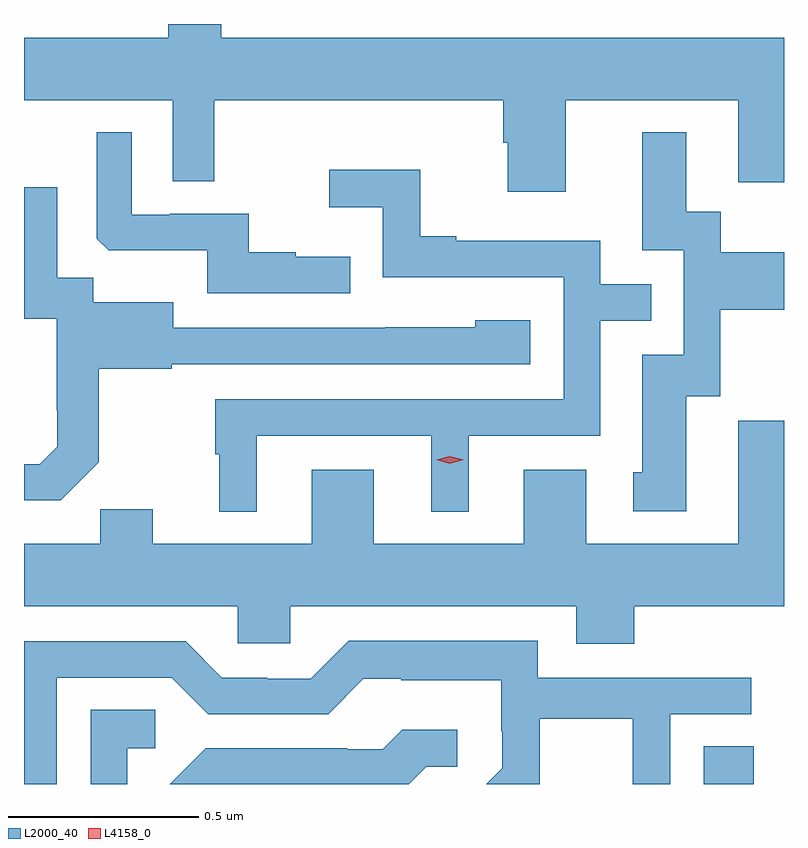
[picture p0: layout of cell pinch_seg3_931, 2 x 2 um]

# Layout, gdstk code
import gdstk
lib = gdstk.Library(unit=1e-6, precision=1e-09)
def R(c, l, rs):  # rectangles x0, y0, x1, y1
    for r in rs: c.add(gdstk.rectangle(r[:2], r[2:], *l))
def P(c, l, *ps):  # polygons
    for p in ps: c.add(gdstk.Polygon(p, *l))
L2000_40 = (2000, 40)
L4158_0 = (4158, 0)

pinch_seg3_931 = lib.new_cell('pinch_seg3_931')
R(pinch_seg3_931, L2000_40, [(822.695,671.144,822.826,671.243)])
P(pinch_seg3_931, L2000_40, [(822.331,672.944),(822.785,672.944),(822.785,672.728),(822.906,672.728),(822.906,673.108),(821.425,673.108),(821.425,673.144),(821.285,673.144),(821.285,673.108),(820.906,673.108),(820.906,672.944),(821.298,672.944),(821.298,672.73),(821.407,672.73),(821.407,672.944),(822.167,672.944),(822.167,672.831),(822.179,672.831),(822.179,672.702),(822.331,672.702)],
  [(822.649,672.165),(822.738,672.165),(822.738,672.392),(822.906,672.392),(822.906,672.544),(822.739,672.544),(822.739,672.65),(822.649,672.65),(822.649,672.859),(822.533,672.859),(822.533,672.549),(822.642,672.549),(822.642,672.273),(822.533,672.273),(822.533,671.964),(822.509,671.964),(822.509,671.862),(822.649,671.862)],
  [(821.765,672.532),(821.621,672.532),(821.621,672.544),(821.498,672.544),(821.498,672.645),(821.29,672.645),(821.29,672.642),(821.19,672.642),(821.19,672.859),(821.097,672.859),(821.097,672.579),(821.129,672.548),(821.388,672.548),(821.388,672.435),(821.765,672.435)],
  [(821.518,672.06),(821.978,672.06),(821.978,671.861),(822.076,671.861),(822.076,672.06),(822.423,672.06),(822.423,672.363),(822.557,672.363),(822.557,672.459),(822.423,672.459),(822.423,672.573),(822.043,672.573),(822.043,672.586),(821.949,672.586),(821.949,672.761),(821.709,672.761),(821.709,672.662),(821.85,672.662),(821.85,672.477),(822.327,672.477),(822.327,672.156),(821.409,672.156),(821.409,672.012),(821.42,672.012),(821.42,671.861),(821.518,671.861)],
  [(821.103,671.991),(821.103,672.237),(821.295,672.237),(821.295,672.249),(822.238,672.249),(822.238,672.364),(822.093,672.364),(822.093,672.346),(821.857,672.346),(821.857,672.345),(821.299,672.345),(821.299,672.412),(821.088,672.412),(821.088,672.476),(820.993,672.476),(820.993,672.715),(820.906,672.715),(820.906,672.368),(820.992,672.368),(820.992,672.127),(820.994,672.127),(820.994,672.032),(820.947,671.985),(820.906,671.985),(820.906,671.891),(821.003,671.891)],
  [(822.512,671.612),(822.906,671.612),(822.906,672.1),(822.786,672.1),(822.786,671.987),(822.785,671.987),(822.785,671.776),(822.385,671.776),(822.385,671.971),(822.221,671.971),(822.221,671.776),(821.827,671.776),(821.827,671.971),(821.663,671.971),(821.663,671.776),(821.245,671.776),(821.245,671.867),(821.107,671.867),(821.107,671.776),(820.906,671.776),(820.906,671.612),(821.469,671.612),(821.469,671.514),(821.607,671.514),(821.607,671.612),(822.359,671.612),(822.359,671.513),(822.512,671.513)],
  [(820.992,671.424),(821.295,671.424),(821.391,671.328),(821.706,671.328),(821.799,671.421),(821.899,671.421),(821.899,671.417),(822.162,671.417),(822.162,671.283),(822.164,671.283),(822.164,671.186),(822.122,671.144),(822.263,671.144),(822.263,671.316),(822.508,671.316),(822.508,671.144),(822.606,671.144),(822.606,671.328),(822.82,671.328),(822.82,671.424),(822.258,671.424),(822.258,671.521),(821.761,671.521),(821.661,671.421),(821.546,671.421),(821.546,671.424),(821.427,671.424),(821.331,671.52),(820.906,671.52),(820.906,671.144),(820.992,671.144)],
  [(821.178,671.238),(821.251,671.238),(821.251,671.339),(821.082,671.339),(821.082,671.144),(821.178,671.144)],
  [(821.964,671.19),(822.046,671.19),(822.046,671.287),(821.902,671.287),(821.85,671.235),(821.756,671.235),(821.756,671.238),(821.384,671.238),(821.29,671.144),(821.918,671.144)])
P(pinch_seg3_931, L4158_0, [(822.027,671.987),(821.991,671.997),(821.991,671.997),(821.991,671.997),(822.027,672.007),(822.063,671.997),(822.063,671.997),(822.063,671.997)])

lib.write_gds('pinch_seg3_931.gds')
